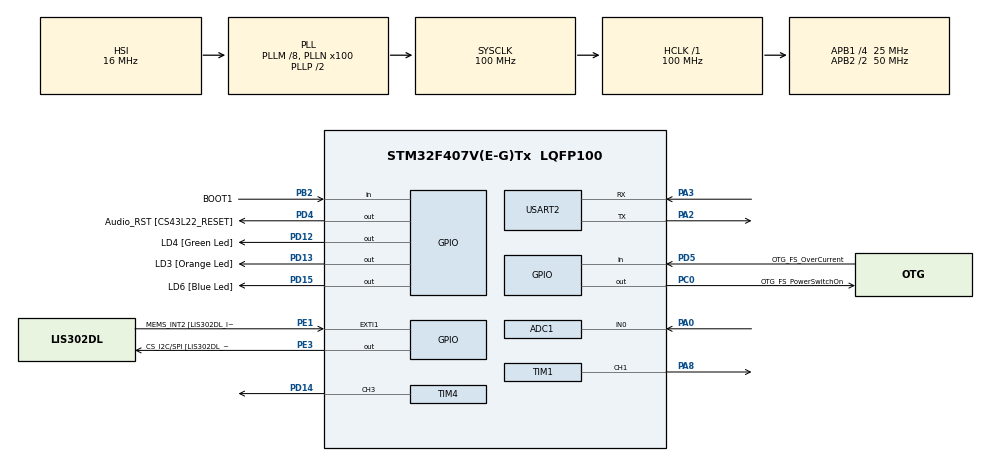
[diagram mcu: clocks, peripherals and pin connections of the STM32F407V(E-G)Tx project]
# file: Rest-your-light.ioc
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ADC1.Channel-4\#ChannelRegularConversion=ADC_CHANNEL_0
ADC1.ContinuousConvMode=ENABLE
ADC1.NbrOfConversionFlag=1
ADC1.Rank-4\#ChannelRegularConversion=1
ADC1.SamplingTime-4\#ChannelRegularConversion=ADC_SAMPLETIME_3CYCLES
ADC1.master=1
Dma.Request0=USART2_RX
Dma.Request1=USART2_TX
Dma.USART2_RX.0.Direction=DMA_PERIPH_TO_MEMORY
Dma.USART2_RX.0.FIFOMode=DMA_FIFOMODE_DISABLE
Dma.USART2_RX.0.Instance=DMA1_Stream5
Dma.USART2_RX.0.MemDataAlignment=DMA_MDATAALIGN_BYTE
Dma.USART2_RX.0.MemInc=DMA_MINC_ENABLE
Dma.USART2_RX.0.Mode=DMA_NORMAL
Dma.USART2_RX.0.PeriphDataAlignment=DMA_PDATAALIGN_BYTE
Dma.USART2_RX.0.PeriphInc=DMA_PINC_DISABLE
Dma.USART2_RX.0.Priority=DMA_PRIORITY_LOW
Dma.USART2_TX.1.Direction=DMA_MEMORY_TO_PERIPH
Dma.USART2_TX.1.FIFOMode=DMA_FIFOMODE_DISABLE
Dma.USART2_TX.1.Instance=DMA1_Stream6
Dma.USART2_TX.1.MemDataAlignment=DMA_MDATAALIGN_BYTE
Dma.USART2_TX.1.MemInc=DMA_MINC_ENABLE
Dma.USART2_TX.1.Mode=DMA_NORMAL
Dma.USART2_TX.1.PeriphDataAlignment=DMA_PDATAALIGN_BYTE
Dma.USART2_TX.1.PeriphInc=DMA_PINC_DISABLE
Dma.USART2_TX.1.Priority=DMA_PRIORITY_LOW
Mcu.Family=STM32F4
Mcu.Name=STM32F407V(E-G)Tx
Mcu.Package=LQFP100
NVIC.ADC_IRQn=true\:0\:0\:false\:false\:true\:true
NVIC.DMA1_Stream5_IRQn=true\:0\:0\:false\:false\:true\:false
NVIC.DMA1_Stream6_IRQn=true\:0\:0\:false\:false\:true\:false
NVIC.PriorityGroup=NVIC_PRIORITYGROUP_4
NVIC.USART2_IRQn=true\:0\:0\:false\:false\:true\:true
PA0-WKUP.Signal=ADCx_IN0
PA10.GPIO_Label=OTG_FS_ID
PA10.GPIO_Mode=GPIO_MODE_AF_PP
PA10.GPIO_PuPd=GPIO_NOPULL
PA10.GPIO_Speed=GPIO_SPEED_FREQ_LOW
PA10.Signal=USB_OTG_FS_ID
PA11.GPIO_Label=OTG_FS_DM
PA11.GPIO_Mode=GPIO_MODE_AF_PP
PA11.GPIO_PuPd=GPIO_NOPULL
PA11.GPIO_Speed=GPIO_SPEED_FREQ_LOW
PA11.Signal=USB_OTG_FS_DM
PA12.GPIO_Label=OTG_FS_DP
PA12.GPIO_Mode=GPIO_MODE_AF_PP
PA12.GPIO_PuPd=GPIO_NOPULL
PA12.GPIO_Speed=GPIO_SPEED_FREQ_LOW
PA12.Signal=USB_OTG_FS_DP
PA13.GPIO_Label=SWDIO
PA13.Signal=SYS_JTMS-SWDIO
PA14.GPIO_Label=SWCLK
PA14.Signal=SYS_JTCK-SWCLK
PA2.Mode=Asynchronous
PA2.Signal=USART2_TX
PA3.Mode=Asynchronous
PA3.Signal=USART2_RX
PA4.GPIO_Label=I2S3_WS [CS43L22_LRCK]
PA4.GPIO_Mode=GPIO_MODE_AF_PP
PA4.GPIO_PuPd=GPIO_NOPULL
PA4.GPIO_Speed=GPIO_SPEED_FREQ_LOW
PA4.Signal=I2S3_WS
PA5.GPIO_Label=SPI1_SCK [LIS302DL_SCL/SPC]
PA5.GPIO_Mode=GPIO_MODE_AF_PP
PA5.GPIO_PuPd=GPIO_NOPULL
PA5.GPIO_Speed=GPIO_SPEED_FREQ_LOW
PA5.Signal=SPI1_SCK
PA6.GPIO_Label=SPI1_MISO [LIS302DL_SDO]
PA6.GPIO_Mode=GPIO_MODE_AF_PP
PA6.GPIO_PuPd=GPIO_NOPULL
PA6.GPIO_Speed=GPIO_SPEED_FREQ_LOW
PA6.Signal=SPI1_MISO
PA7.GPIO_Label=SPI1_MOSI [LIS302DL_SDA/SDI/SDO]
PA7.GPIO_Mode=GPIO_MODE_AF_PP
PA7.GPIO_PuPd=GPIO_NOPULL
PA7.GPIO_Speed=GPIO_SPEED_FREQ_LOW
PA7.Signal=SPI1_MOSI
PA8.Signal=S_TIM1_CH1
PA9.GPIO_Label=VBUS_FS
PA9.GPIO_Mode=GPIO_MODE_INPUT
PA9.GPIO_PuPd=GPIO_NOPULL
PA9.Signal=USB_OTG_FS_VBUS
PB10.GPIO_Label=CLK_IN [MP45DT02_CLK]
PB10.GPIO_Mode=GPIO_MODE_AF_PP
PB10.GPIO_PuPd=GPIO_NOPULL
PB10.GPIO_Speed=GPIO_SPEED_FREQ_LOW
PB10.Signal=I2S2_CK
PB2.GPIO_Label=BOOT1
PB2.GPIO_Mode=GPIO_MODE_INPUT
PB2.GPIO_PuPd=GPIO_NOPULL
PB2.Signal=GPIO_Input
PB3.GPIO_Label=SWO
PB3.Signal=SYS_JTDO-SWO
PB6.GPIO_Label=Audio_SCL [CS43L22_SCL]
PB6.GPIO_Mode=GPIO_MODE_AF_OD
PB6.GPIO_PuPd=GPIO_NOPULL
PB6.GPIO_Speed=GPIO_SPEED_FREQ_LOW
PB6.Signal=I2C1_SCL
PB9.GPIO_Label=Audio_SDA [CS43L22_SDA]
PB9.GPIO_Mode=GPIO_MODE_AF_OD
PB9.GPIO_PuPd=GPIO_NOPULL
PB9.GPIO_Speed=GPIO_SPEED_FREQ_LOW
PB9.Signal=I2C1_SDA
PC0.GPIO_Label=OTG_FS_PowerSwitchOn
PC0.GPIO_PuPd=GPIO_NOPULL
PC0.GPIO_Speed=GPIO_SPEED_FREQ_LOW
PC0.PinState=GPIO_PIN_SET
PC0.Signal=GPIO_Output
PC10.GPIO_Label=I2S3_SCK [CS43L22_SCLK]
PC10.GPIO_Mode=GPIO_MODE_AF_PP
PC10.GPIO_PuPd=GPIO_NOPULL
PC10.GPIO_Speed=GPIO_SPEED_FREQ_LOW
PC10.Signal=I2S3_CK
PC12.GPIO_Label=I2S3_SD [CS43L22_SDIN]
PC12.GPIO_Mode=GPIO_MODE_AF_PP
PC12.GPIO_PuPd=GPIO_NOPULL
PC12.GPIO_Speed=GPIO_SPEED_FREQ_LOW
PC12.Signal=I2S3_SD
PC14-OSC32_IN.GPIO_Label=PC14-OSC32_IN
PC14-OSC32_IN.Signal=RCC_OSC32_IN
PC15-OSC32_OUT.GPIO_Label=PC15-OSC32_OUT
PC15-OSC32_OUT.Signal=RCC_OSC32_OUT
PC3.GPIO_Label=PDM_OUT [MP45DT02_DOUT]
PC3.GPIO_Mode=GPIO_MODE_AF_PP
PC3.GPIO_PuPd=GPIO_NOPULL
PC3.GPIO_Speed=GPIO_SPEED_FREQ_LOW
PC3.Signal=I2S2_SD
PC7.GPIO_Label=I2S3_MCK [CS43L22_MCLK]
PC7.GPIO_Mode=GPIO_MODE_AF_PP
PC7.GPIO_PuPd=GPIO_NOPULL
PC7.GPIO_Speed=GPIO_SPEED_FREQ_LOW
PC7.Signal=I2S3_MCK
PD12.GPIO_Label=LD4 [Green Led]
PD12.GPIO_PuPd=GPIO_NOPULL
PD12.GPIO_Speed=GPIO_SPEED_FREQ_LOW
PD12.Signal=GPIO_Output
PD13.GPIO_Label=LD3 [Orange Led]
PD13.GPIO_PuPd=GPIO_NOPULL
PD13.GPIO_Speed=GPIO_SPEED_FREQ_LOW
PD13.Signal=GPIO_Output
PD14.Signal=S_TIM4_CH3
PD15.GPIO_Label=LD6 [Blue Led]
PD15.GPIO_PuPd=GPIO_NOPULL
PD15.GPIO_Speed=GPIO_SPEED_FREQ_LOW
PD15.Signal=GPIO_Output
PD4.GPIO_Label=Audio_RST [CS43L22_RESET]
PD4.GPIO_PuPd=GPIO_NOPULL
PD4.GPIO_Speed=GPIO_SPEED_FREQ_LOW
PD4.Signal=GPIO_Output
PD5.GPIO_Label=OTG_FS_OverCurrent
PD5.GPIO_Mode=GPIO_MODE_INPUT
PD5.GPIO_PuPd=GPIO_NOPULL
PD5.Signal=GPIO_Input
PE1.GPIO_Label=MEMS_INT2 [LIS302DL_INT2]
PE1.GPIO_ModeDefaultEXTI=GPIO_MODE_EVT_RISING
PE1.GPIO_PuPd=GPIO_NOPULL
PE1.Signal=GPXTI1
PE3.GPIO_Label=CS_I2C/SPI [LIS302DL_CS_I2C/SPI]
PE3.GPIO_PuPd=GPIO_NOPULL
PE3.GPIO_Speed=GPIO_SPEED_FREQ_LOW
PE3.Signal=GPIO_Output
PH0-OSC_IN.GPIO_Label=PH0-OSC_IN
PH0-OSC_IN.Signal=RCC_OSC_IN
PH1-OSC_OUT.GPIO_Label=PH1-OSC_OUT
PH1-OSC_OUT.Signal=RCC_OSC_OUT
ProjectManager.HeapSize=0x200
ProjectManager.StackSize=0x400
ProjectManager.TargetToolchain=SW4STM32
RCC.48MHZClocksFreq_Value=28571428.57142857
RCC.AHBFreq_Value=100000000
RCC.APB1CLKDivider=RCC_HCLK_DIV4
RCC.APB1Freq_Value=25000000
RCC.APB1TimFreq_Value=50000000
RCC.APB2CLKDivider=RCC_HCLK_DIV2
RCC.APB2Freq_Value=50000000
RCC.APB2TimFreq_Value=100000000
RCC.CortexFreq_Value=100000000
RCC.HCLKFreq_Value=100000000
RCC.HSE_VALUE=8000000
RCC.HSI_VALUE=16000000
RCC.LSE_VALUE=32768
RCC.PLLM=8
RCC.PLLN=100
RCC.PLLQ=7
RCC.SYSCLKFreq_VALUE=100000000
RCC.SYSCLKSource=RCC_SYSCLKSOURCE_PLLCLK
RCC.VCOOutputFreq_Value=200000000
SH.ADCx_IN0.0=ADC1_IN0,IN0
SH.S_TIM1_CH1.0=TIM1_CH1,PWM Generation1 CH1
SH.S_TIM4_CH3.0=TIM4_CH3,PWM Generation3 CH3
TIM1.Channel-PWM\ Generation1\ CH1=TIM_CHANNEL_1
TIM1.Period=499
TIM1.Prescaler=1999
TIM1.Pulse-PWM\ Generation1\ CH1=100
TIM4.Channel-PWM\ Generation3\ CH3=TIM_CHANNEL_3
TIM4.Period=499
TIM4.Prescaler=1999
TIM4.Pulse-PWM\ Generation3\ CH3=100
USART2.VirtualMode=VM_ASYNC
VP_TIM1_VS_ClockSourceINT.Mode=Internal
VP_TIM4_VS_ClockSourceINT.Mode=Internal
board=STM32F4DISCOVERY

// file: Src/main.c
/**
  ******************************************************************************
  * @file           : main.c
  * @brief          : Main program body
  ******************************************************************************
  ** This notice applies to any and all portions of this file
  * that are not between comment pairs USER CODE BEGIN and
  * USER CODE END. Other portions of this file, whether
  * inserted by the user or by software development tools
  * are owned by their respective copyright owners.
  *
  * COPYRIGHT(c) 2561 STMicroelectronics
  *
  * Redistribution and use in source and binary forms, with or without modification,
  * are permitted provided that the following conditions are met:
  *   1. Redistributions of source code must retain the above copyright notice,
  *      this list of conditions and the following disclaimer.
  *   2. Redistributions in binary form must reproduce the above copyright notice,
  *      this list of conditions and the following disclaimer in the documentation
  *      and/or other materials provided with the distribution.
  *   3. Neither the name of STMicroelectronics nor the names of its contributors
  *      may be used to endorse or promote products derived from this software
  *      without specific prior written permission.
  *
  * THIS SOFTWARE IS PROVIDED BY THE COPYRIGHT HOLDERS AND CONTRIBUTORS "AS IS"
  * AND ANY EXPRESS OR IMPLIED WARRANTIES, INCLUDING, BUT NOT LIMITED TO, THE
  * IMPLIED WARRANTIES OF MERCHANTABILITY AND FITNESS FOR A PARTICULAR PURPOSE ARE
  * DISCLAIMED. IN NO EVENT SHALL THE COPYRIGHT HOLDER OR CONTRIBUTORS BE LIABLE
  * FOR ANY DIRECT, INDIRECT, INCIDENTAL, SPECIAL, EXEMPLARY, OR CONSEQUENTIAL
  * DAMAGES (INCLUDING, BUT NOT LIMITED TO, PROCUREMENT OF SUBSTITUTE GOODS OR
  * SERVICES; LOSS OF USE, DATA, OR PROFITS; OR BUSINESS INTERRUPTION) HOWEVER
  * CAUSED AND ON ANY THEORY OF LIABILITY, WHETHER IN CONTRACT, STRICT LIABILITY,
  * OR TORT (INCLUDING NEGLIGENCE OR OTHERWISE) ARISING IN ANY WAY OUT OF THE USE
  * OF THIS SOFTWARE, EVEN IF ADVISED OF THE POSSIBILITY OF SUCH DAMAGE.
  *
  ******************************************************************************
  */
#include "main.h"
#include "stm32f4xx_hal.h"

ADC_HandleTypeDef hadc1;

TIM_HandleTypeDef htim1;
TIM_HandleTypeDef htim4;

UART_HandleTypeDef huart2;
DMA_HandleTypeDef hdma_usart2_rx;
DMA_HandleTypeDef hdma_usart2_tx;

/* USER CODE BEGIN PV */
/* Private variables ---------------------------------------------------------*/
char recieve[3]={"\0"};
char send[60]={"\0"};
uint16_t brightness_percent =0;

uint8_t led_switch =0;
uint8_t mode =0;
uint8_t auto_mode = 0;
uint8_t brightness = 0;
uint16_t max_ldr = 1000;
uint16_t min_ldr = 0;
/* USER CODE END PV */

void SystemClock_Config(void);
static void MX_GPIO_Init(void);
static void MX_DMA_Init(void);
static void MX_USART2_UART_Init(void);
static void MX_TIM4_Init(void);
static void MX_ADC1_Init(void);
static void MX_TIM1_Init(void);

void HAL_TIM_MspPostInit(TIM_HandleTypeDef *htim);

/* USER CODE BEGIN PFP */
/* Private function prototypes -----------------------------------------------*/
void HAL_UART_RxCpltCallback(UART_HandleTypeDef *huart)
{
	uint8_t c = recieve[1] - '0';
	uint8_t v = recieve[2] - '0';
	switch(c){
		case 1: // 0 = off, 1 = on
			led_switch=v;
			HAL_GPIO_TogglePin(GPIOD,GPIO_PIN_15);
			break;
		case 2: // 0 =bird, 1 = owl
			mode = v;
			if (v) {
						max_ldr = 1000;
						min_ldr = 0;
					} else {
						max_ldr = 1400;
						min_ldr = 300;
					}
			HAL_GPIO_TogglePin(GPIOD,GPIO_PIN_15);
			break;
		case 3: //auto 0=off, 1 = on
			auto_mode = v;
			HAL_GPIO_TogglePin(GPIOD,GPIO_PIN_15);
			break;
		case 4: //brightness 0=dim, 1 = bright
			brightness =v ;
			HAL_GPIO_TogglePin(GPIOD,GPIO_PIN_15);
			break;
	}
}
/* USER CODE END PFP */

int main(void)
{

  /* MCU Configuration----------------------------------------------------------*/

  /* Reset of all peripherals, Initializes the Flash interface and the Systick. */
  HAL_Init();

  /* Configure the system clock */
  SystemClock_Config();

  /* Initialize all configured peripherals */
  MX_GPIO_Init();
  MX_DMA_Init();
  MX_USART2_UART_Init();
  MX_TIM4_Init();
  MX_ADC1_Init();
  MX_TIM1_Init();
  /* USER CODE BEGIN 2 */
	HAL_TIM_PWM_Start(&htim4, TIM_CHANNEL_3);
	HAL_TIM_PWM_Start(&htim1, TIM_CHANNEL_1);

	uint16_t ldr_p = max_ldr - min_ldr;
	uint16_t t = 0.0;
	uint16_t count = 0;

  /* USER CODE END 2 */

  /* Infinite loop */
  /* USER CODE BEGIN WHILE */
	while (1) {
		HAL_UART_Receive_DMA(&huart2, recieve, sizeof(recieve));
		if(led_switch){
			if(auto_mode){
				htim4.Instance->CCR3 = ((100 + brightness_percent*(1- (2*mode)))%100)*0.65+((50+(19*mode))+(brightness*30))*0.35;

			}else{
				htim4.Instance->CCR3 = (20+(39*mode))+(brightness*40);
			}
			htim1.Instance->CCR1 = htim4.Instance->CCR3;
		}else{
				htim4.Instance->CCR3 = 0;
				htim1.Instance->CCR1 = 0;
				t = 0;
		}

		HAL_ADC_Start(&hadc1);
		if (count >=5 && HAL_ADC_PollForConversion(&hadc1, 1000) == HAL_OK) {
			count =0;
			uint16_t adc = HAL_ADC_GetValue(&hadc1);

			if(t%360000 == 0){ // restore light range every hour
				if (mode) {
					max_ldr = 1000;
					min_ldr = 0;
				} else {
					max_ldr = 1400;
					min_ldr = 300;
				}
			}else{
				if(adc > max_ldr) max_ldr=adc;
				else if(adc < min_ldr) min_ldr=adc;
			}

			ldr_p = max_ldr - min_ldr;
			uint16_t adc_percent = (double) (1.0 - ((double) (max_ldr - adc) / (double) ldr_p)) * 100.0;
			brightness_percent = adc_percent;

			char send[60]={"\0"};
			sprintf(send, "/%d/%d/%d/%d/\n", adc, adc_percent,t,htim4.Instance->CCR3);
			HAL_UART_Transmit_DMA(&huart2, (uint8_t*) send, sizeof(send));
			HAL_GPIO_TogglePin(GPIOD,GPIO_PIN_13);
		}

		count++;
		t+=100;
		HAL_Delay(100);
  /* USER CODE END WHILE */

	}

}

void SystemClock_Config(void)
{

  RCC_OscInitTypeDef RCC_OscInitStruct;
  RCC_ClkInitTypeDef RCC_ClkInitStruct;

    /**Configure the main internal regulator output voltage
    */
  __HAL_RCC_PWR_CLK_ENABLE();

  __HAL_PWR_VOLTAGESCALING_CONFIG(PWR_REGULATOR_VOLTAGE_SCALE1);

    /**Initializes the CPU, AHB and APB busses clocks
    */
  RCC_OscInitStruct.OscillatorType = RCC_OSCILLATORTYPE_HSI;
  RCC_OscInitStruct.HSIState = RCC_HSI_ON;
  RCC_OscInitStruct.HSICalibrationValue = 16;
  RCC_OscInitStruct.PLL.PLLState = RCC_PLL_ON;
  RCC_OscInitStruct.PLL.PLLSource = RCC_PLLSOURCE_HSI;
  RCC_OscInitStruct.PLL.PLLM = 8;
  RCC_OscInitStruct.PLL.PLLN = 100;
  RCC_OscInitStruct.PLL.PLLP = RCC_PLLP_DIV2;
  RCC_OscInitStruct.PLL.PLLQ = 7;
  if (HAL_RCC_OscConfig(&RCC_OscInitStruct) != HAL_OK)
  {
    _Error_Handler(__FILE__, __LINE__);
  }

    /**Initializes the CPU, AHB and APB busses clocks
    */
  RCC_ClkInitStruct.ClockType = RCC_CLOCKTYPE_HCLK|RCC_CLOCKTYPE_SYSCLK
                              |RCC_CLOCKTYPE_PCLK1|RCC_CLOCKTYPE_PCLK2;
  RCC_ClkInitStruct.SYSCLKSource = RCC_SYSCLKSOURCE_PLLCLK;
  RCC_ClkInitStruct.AHBCLKDivider = RCC_SYSCLK_DIV1;
  RCC_ClkInitStruct.APB1CLKDivider = RCC_HCLK_DIV4;
  RCC_ClkInitStruct.APB2CLKDivider = RCC_HCLK_DIV2;

  if (HAL_RCC_ClockConfig(&RCC_ClkInitStruct, FLASH_LATENCY_3) != HAL_OK)
  {
    _Error_Handler(__FILE__, __LINE__);
  }

    /**Configure the Systick interrupt time
    */
  HAL_SYSTICK_Config(HAL_RCC_GetHCLKFreq()/1000);

    /**Configure the Systick
    */
  HAL_SYSTICK_CLKSourceConfig(SYSTICK_CLKSOURCE_HCLK);

  /* SysTick_IRQn interrupt configuration */
  HAL_NVIC_SetPriority(SysTick_IRQn, 0, 0);
}

/* ADC1 init function */
static void MX_ADC1_Init(void)
{

  ADC_ChannelConfTypeDef sConfig;

    /**Configure the global features of the ADC (Clock, Resolution, Data Alignment and number of conversion)
    */
  hadc1.Instance = ADC1;
  hadc1.Init.ClockPrescaler = ADC_CLOCK_SYNC_PCLK_DIV2;
  hadc1.Init.Resolution = ADC_RESOLUTION_12B;
  hadc1.Init.ScanConvMode = DISABLE;
  hadc1.Init.ContinuousConvMode = ENABLE;
  hadc1.Init.DiscontinuousConvMode = DISABLE;
  hadc1.Init.ExternalTrigConvEdge = ADC_EXTERNALTRIGCONVEDGE_NONE;
  hadc1.Init.ExternalTrigConv = ADC_SOFTWARE_START;
  hadc1.Init.DataAlign = ADC_DATAALIGN_RIGHT;
  hadc1.Init.NbrOfConversion = 1;
  hadc1.Init.DMAContinuousRequests = DISABLE;
  hadc1.Init.EOCSelection = ADC_EOC_SINGLE_CONV;
  if (HAL_ADC_Init(&hadc1) != HAL_OK)
  {
    _Error_Handler(__FILE__, __LINE__);
  }

    /**Configure for the selected ADC regular channel its corresponding rank in the sequencer and its sample time.
    */
  sConfig.Channel = ADC_CHANNEL_0;
  sConfig.Rank = 1;
  sConfig.SamplingTime = ADC_SAMPLETIME_3CYCLES;
  if (HAL_ADC_ConfigChannel(&hadc1, &sConfig) != HAL_OK)
  {
    _Error_Handler(__FILE__, __LINE__);
  }

}

/* TIM1 init function */
static void MX_TIM1_Init(void)
{

  TIM_ClockConfigTypeDef sClockSourceConfig;
  TIM_MasterConfigTypeDef sMasterConfig;
  TIM_OC_InitTypeDef sConfigOC;
  TIM_BreakDeadTimeConfigTypeDef sBreakDeadTimeConfig;

  htim1.Instance = TIM1;
  htim1.Init.Prescaler = 1999;
  htim1.Init.CounterMode = TIM_COUNTERMODE_UP;
  htim1.Init.Period = 499;
  htim1.Init.ClockDivision = TIM_CLOCKDIVISION_DIV1;
  htim1.Init.RepetitionCounter = 0;
  if (HAL_TIM_Base_Init(&htim1) != HAL_OK)
  {
    _Error_Handler(__FILE__, __LINE__);
  }

  sClockSourceConfig.ClockSource = TIM_CLOCKSOURCE_INTERNAL;
  if (HAL_TIM_ConfigClockSource(&htim1, &sClockSourceConfig) != HAL_OK)
  {
    _Error_Handler(__FILE__, __LINE__);
  }

  if (HAL_TIM_PWM_Init(&htim1) != HAL_OK)
  {
    _Error_Handler(__FILE__, __LINE__);
  }

  sMasterConfig.MasterOutputTrigger = TIM_TRGO_RESET;
  sMasterConfig.MasterSlaveMode = TIM_MASTERSLAVEMODE_DISABLE;
  if (HAL_TIMEx_MasterConfigSynchronization(&htim1, &sMasterConfig) != HAL_OK)
  {
    _Error_Handler(__FILE__, __LINE__);
  }

  sConfigOC.OCMode = TIM_OCMODE_PWM1;
  sConfigOC.Pulse = 100;
  sConfigOC.OCPolarity = TIM_OCPOLARITY_HIGH;
  sConfigOC.OCNPolarity = TIM_OCNPOLARITY_HIGH;
  sConfigOC.OCFastMode = TIM_OCFAST_DISABLE;
  sConfigOC.OCIdleState = TIM_OCIDLESTATE_RESET;
  sConfigOC.OCNIdleState = TIM_OCNIDLESTATE_RESET;
  if (HAL_TIM_PWM_ConfigChannel(&htim1, &sConfigOC, TIM_CHANNEL_1) != HAL_OK)
  {
    _Error_Handler(__FILE__, __LINE__);
  }

  sBreakDeadTimeConfig.OffStateRunMode = TIM_OSSR_DISABLE;
  sBreakDeadTimeConfig.OffStateIDLEMode = TIM_OSSI_DISABLE;
  sBreakDeadTimeConfig.LockLevel = TIM_LOCKLEVEL_OFF;
  sBreakDeadTimeConfig.DeadTime = 0;
  sBreakDeadTimeConfig.BreakState = TIM_BREAK_DISABLE;
  sBreakDeadTimeConfig.BreakPolarity = TIM_BREAKPOLARITY_HIGH;
  sBreakDeadTimeConfig.AutomaticOutput = TIM_AUTOMATICOUTPUT_DISABLE;
  if (HAL_TIMEx_ConfigBreakDeadTime(&htim1, &sBreakDeadTimeConfig) != HAL_OK)
  {
    _Error_Handler(__FILE__, __LINE__);
  }

  HAL_TIM_MspPostInit(&htim1);

}

/* TIM4 init function */
static void MX_TIM4_Init(void)
{

  TIM_ClockConfigTypeDef sClockSourceConfig;
  TIM_MasterConfigTypeDef sMasterConfig;
  TIM_OC_InitTypeDef sConfigOC;

  htim4.Instance = TIM4;
  htim4.Init.Prescaler = 1999;
  htim4.Init.CounterMode = TIM_COUNTERMODE_UP;
  htim4.Init.Period = 499;
  htim4.Init.ClockDivision = TIM_CLOCKDIVISION_DIV1;
  if (HAL_TIM_Base_Init(&htim4) != HAL_OK)
  {
    _Error_Handler(__FILE__, __LINE__);
  }

  sClockSourceConfig.ClockSource = TIM_CLOCKSOURCE_INTERNAL;
  if (HAL_TIM_ConfigClockSource(&htim4, &sClockSourceConfig) != HAL_OK)
  {
    _Error_Handler(__FILE__, __LINE__);
  }

  if (HAL_TIM_PWM_Init(&htim4) != HAL_OK)
  {
    _Error_Handler(__FILE__, __LINE__);
  }

  sMasterConfig.MasterOutputTrigger = TIM_TRGO_RESET;
  sMasterConfig.MasterSlaveMode = TIM_MASTERSLAVEMODE_DISABLE;
  if (HAL_TIMEx_MasterConfigSynchronization(&htim4, &sMasterConfig) != HAL_OK)
  {
    _Error_Handler(__FILE__, __LINE__);
  }

  sConfigOC.OCMode = TIM_OCMODE_PWM1;
  sConfigOC.Pulse = 100;
  sConfigOC.OCPolarity = TIM_OCPOLARITY_HIGH;
  sConfigOC.OCFastMode = TIM_OCFAST_DISABLE;
  if (HAL_TIM_PWM_ConfigChannel(&htim4, &sConfigOC, TIM_CHANNEL_3) != HAL_OK)
  {
    _Error_Handler(__FILE__, __LINE__);
  }

  HAL_TIM_MspPostInit(&htim4);

}

/* USART2 init function */
static void MX_USART2_UART_Init(void)
{

  huart2.Instance = USART2;
  huart2.Init.BaudRate = 115200;
  huart2.Init.WordLength = UART_WORDLENGTH_8B;
  huart2.Init.StopBits = UART_STOPBITS_1;
  huart2.Init.Parity = UART_PARITY_NONE;
  huart2.Init.Mode = UART_MODE_TX_RX;
  huart2.Init.HwFlowCtl = UART_HWCONTROL_NONE;
  huart2.Init.OverSampling = UART_OVERSAMPLING_16;
  if (HAL_UART_Init(&huart2) != HAL_OK)
  {
    _Error_Handler(__FILE__, __LINE__);
  }

}

static void MX_DMA_Init(void)
{
  /* DMA controller clock enable */
  __HAL_RCC_DMA1_CLK_ENABLE();

  /* DMA interrupt init */
  /* DMA1_Stream5_IRQn interrupt configuration */
  HAL_NVIC_SetPriority(DMA1_Stream5_IRQn, 0, 0);
  HAL_NVIC_EnableIRQ(DMA1_Stream5_IRQn);
  /* DMA1_Stream6_IRQn interrupt configuration */
  HAL_NVIC_SetPriority(DMA1_Stream6_IRQn, 0, 0);
  HAL_NVIC_EnableIRQ(DMA1_Stream6_IRQn);

}

/** Configure pins as
        * Analog
        * Input
        * Output
        * EVENT_OUT
        * EXTI
     PC3   ------> I2S2_SD
     PA4   ------> I2S3_WS
     PA5   ------> SPI1_SCK
     PA6   ------> SPI1_MISO
     PA7   ------> SPI1_MOSI
     PB10   ------> I2S2_CK
     PC7   ------> I2S3_MCK
     PA9   ------> USB_OTG_FS_VBUS
     PA10   ------> USB_OTG_FS_ID
     PA11   ------> USB_OTG_FS_DM
     PA12   ------> USB_OTG_FS_DP
     PC10   ------> I2S3_CK
     PC12   ------> I2S3_SD
     PB6   ------> I2C1_SCL
     PB9   ------> I2C1_SDA
*/
static void MX_GPIO_Init(void)
{

  GPIO_InitTypeDef GPIO_InitStruct;

  /* GPIO Ports Clock Enable */
  __HAL_RCC_GPIOE_CLK_ENABLE();
  __HAL_RCC_GPIOC_CLK_ENABLE();
  __HAL_RCC_GPIOH_CLK_ENABLE();
  __HAL_RCC_GPIOA_CLK_ENABLE();
  __HAL_RCC_GPIOB_CLK_ENABLE();
  __HAL_RCC_GPIOD_CLK_ENABLE();

  /*Configure GPIO pin Output Level */
  HAL_GPIO_WritePin(CS_I2C_SPI_GPIO_Port, CS_I2C_SPI_Pin, GPIO_PIN_RESET);

  /*Configure GPIO pin Output Level */
  HAL_GPIO_WritePin(OTG_FS_PowerSwitchOn_GPIO_Port, OTG_FS_PowerSwitchOn_Pin, GPIO_PIN_SET);

  /*Configure GPIO pin Output Level */
  HAL_GPIO_WritePin(GPIOD, LD4_Pin|LD3_Pin|LD6_Pin|Audio_RST_Pin, GPIO_PIN_RESET);

  /*Configure GPIO pin : CS_I2C_SPI_Pin */
  GPIO_InitStruct.Pin = CS_I2C_SPI_Pin;
  GPIO_InitStruct.Mode = GPIO_MODE_OUTPUT_PP;
  GPIO_InitStruct.Pull = GPIO_NOPULL;
  GPIO_InitStruct.Speed = GPIO_SPEED_FREQ_LOW;
  HAL_GPIO_Init(CS_I2C_SPI_GPIO_Port, &GPIO_InitStruct);

  /*Configure GPIO pin : OTG_FS_PowerSwitchOn_Pin */
  GPIO_InitStruct.Pin = OTG_FS_PowerSwitchOn_Pin;
  GPIO_InitStruct.Mode = GPIO_MODE_OUTPUT_PP;
  GPIO_InitStruct.Pull = GPIO_NOPULL;
  GPIO_InitStruct.Speed = GPIO_SPEED_FREQ_LOW;
  HAL_GPIO_Init(OTG_FS_PowerSwitchOn_GPIO_Port, &GPIO_InitStruct);

  /*Configure GPIO pin : PDM_OUT_Pin */
  GPIO_InitStruct.Pin = PDM_OUT_Pin;
  GPIO_InitStruct.Mode = GPIO_MODE_AF_PP;
  GPIO_InitStruct.Pull = GPIO_NOPULL;
  GPIO_InitStruct.Speed = GPIO_SPEED_FREQ_LOW;
  GPIO_InitStruct.Alternate = GPIO_AF5_SPI2;
  HAL_GPIO_Init(PDM_OUT_GPIO_Port, &GPIO_InitStruct);

  /*Configure GPIO pin : I2S3_WS_Pin */
  GPIO_InitStruct.Pin = I2S3_WS_Pin;
  GPIO_InitStruct.Mode = GPIO_MODE_AF_PP;
  GPIO_InitStruct.Pull = GPIO_NOPULL;
  GPIO_InitStruct.Speed = GPIO_SPEED_FREQ_LOW;
  GPIO_InitStruct.Alternate = GPIO_AF6_SPI3;
  HAL_GPIO_Init(I2S3_WS_GPIO_Port, &GPIO_InitStruct);

  /*Configure GPIO pins : SPI1_SCK_Pin SPI1_MISO_Pin SPI1_MOSI_Pin */
  GPIO_InitStruct.Pin = SPI1_SCK_Pin|SPI1_MISO_Pin|SPI1_MOSI_Pin;
  GPIO_InitStruct.Mode = GPIO_MODE_AF_PP;
  GPIO_InitStruct.Pull = GPIO_NOPULL;
  GPIO_InitStruct.Speed = GPIO_SPEED_FREQ_LOW;
  GPIO_InitStruct.Alternate = GPIO_AF5_SPI1;
  HAL_GPIO_Init(GPIOA, &GPIO_InitStruct);

  /*Configure GPIO pin : BOOT1_Pin */
  GPIO_InitStruct.Pin = BOOT1_Pin;
  GPIO_InitStruct.Mode = GPIO_MODE_INPUT;
  GPIO_InitStruct.Pull = GPIO_NOPULL;
  HAL_GPIO_Init(BOOT1_GPIO_Port, &GPIO_InitStruct);

  /*Configure GPIO pin : CLK_IN_Pin */
  GPIO_InitStruct.Pin = CLK_IN_Pin;
  GPIO_InitStruct.Mode = GPIO_MODE_AF_PP;
  GPIO_InitStruct.Pull = GPIO_NOPULL;
  GPIO_InitStruct.Speed = GPIO_SPEED_FREQ_LOW;
  GPIO_InitStruct.Alternate = GPIO_AF5_SPI2;
  HAL_GPIO_Init(CLK_IN_GPIO_Port, &GPIO_InitStruct);

  /*Configure GPIO pins : LD4_Pin LD3_Pin LD6_Pin Audio_RST_Pin */
  GPIO_InitStruct.Pin = LD4_Pin|LD3_Pin|LD6_Pin|Audio_RST_Pin;
  GPIO_InitStruct.Mode = GPIO_MODE_OUTPUT_PP;
  GPIO_InitStruct.Pull = GPIO_NOPULL;
  GPIO_InitStruct.Speed = GPIO_SPEED_FREQ_LOW;
  HAL_GPIO_Init(GPIOD, &GPIO_InitStruct);

  /*Configure GPIO pins : I2S3_MCK_Pin I2S3_SCK_Pin I2S3_SD_Pin */
  GPIO_InitStruct.Pin = I2S3_MCK_Pin|I2S3_SCK_Pin|I2S3_SD_Pin;
  GPIO_InitStruct.Mode = GPIO_MODE_AF_PP;
  GPIO_InitStruct.Pull = GPIO_NOPULL;
  GPIO_InitStruct.Speed = GPIO_SPEED_FREQ_LOW;
  GPIO_InitStruct.Alternate = GPIO_AF6_SPI3;
  HAL_GPIO_Init(GPIOC, &GPIO_InitStruct);

  /*Configure GPIO pin : VBUS_FS_Pin */
  GPIO_InitStruct.Pin = VBUS_FS_Pin;
  GPIO_InitStruct.Mode = GPIO_MODE_INPUT;
  GPIO_InitStruct.Pull = GPIO_NOPULL;
  HAL_GPIO_Init(VBUS_FS_GPIO_Port, &GPIO_InitStruct);

  /*Configure GPIO pins : OTG_FS_ID_Pin OTG_FS_DM_Pin OTG_FS_DP_Pin */
  GPIO_InitStruct.Pin = OTG_FS_ID_Pin|OTG_FS_DM_Pin|OTG_FS_DP_Pin;
  GPIO_InitStruct.Mode = GPIO_MODE_AF_PP;
  GPIO_InitStruct.Pull = GPIO_NOPULL;
  GPIO_InitStruct.Speed = GPIO_SPEED_FREQ_LOW;
  GPIO_InitStruct.Alternate = GPIO_AF10_OTG_FS;
  HAL_GPIO_Init(GPIOA, &GPIO_InitStruct);

  /*Configure GPIO pin : OTG_FS_OverCurrent_Pin */
  GPIO_InitStruct.Pin = OTG_FS_OverCurrent_Pin;
  GPIO_InitStruct.Mode = GPIO_MODE_INPUT;
  GPIO_InitStruct.Pull = GPIO_NOPULL;
  HAL_GPIO_Init(OTG_FS_OverCurrent_GPIO_Port, &GPIO_InitStruct);

  /*Configure GPIO pins : Audio_SCL_Pin Audio_SDA_Pin */
  GPIO_InitStruct.Pin = Audio_SCL_Pin|Audio_SDA_Pin;
  GPIO_InitStruct.Mode = GPIO_MODE_AF_OD;
  GPIO_InitStruct.Pull = GPIO_PULLUP;
  GPIO_InitStruct.Speed = GPIO_SPEED_FREQ_LOW;
  GPIO_InitStruct.Alternate = GPIO_AF4_I2C1;
  HAL_GPIO_Init(GPIOB, &GPIO_InitStruct);

  /*Configure GPIO pin : MEMS_INT2_Pin */
  GPIO_InitStruct.Pin = MEMS_INT2_Pin;
  GPIO_InitStruct.Mode = GPIO_MODE_EVT_RISING;
  GPIO_InitStruct.Pull = GPIO_NOPULL;
  HAL_GPIO_Init(MEMS_INT2_GPIO_Port, &GPIO_InitStruct);

}

void _Error_Handler(char *file, int line)
{
	while (1) {
	}
}

/************************ (C) COPYRIGHT STMicroelectronics *****END OF FILE****/
